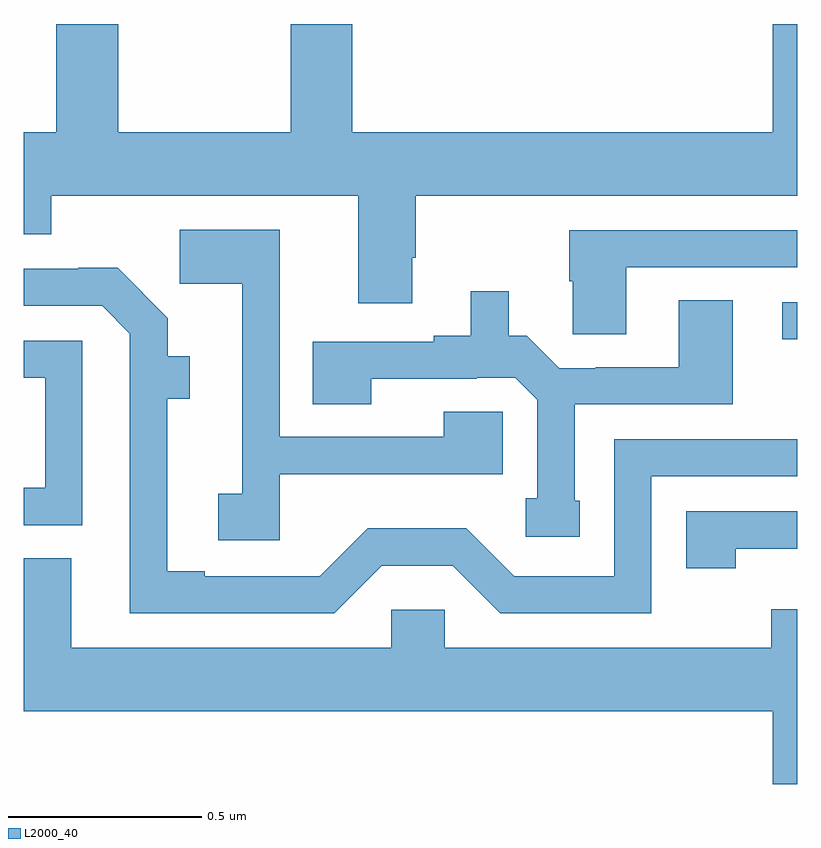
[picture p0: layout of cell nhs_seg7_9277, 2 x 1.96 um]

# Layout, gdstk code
import gdstk
lib = gdstk.Library(unit=1e-6, precision=1e-09)
def R(c, l, rs):  # rectangles x0, y0, x1, y1
    for r in rs: c.add(gdstk.rectangle(r[:2], r[2:], *l))
def P(c, l, *ps):  # polygons
    for p in ps: c.add(gdstk.Polygon(p, *l))
L2000_40 = (2000, 40)

nhs_seg7_9277 = lib.new_cell('nhs_seg7_9277')
R(nhs_seg7_9277, L2000_40, [(236.961,1060.185,237,1060.281)])
P(nhs_seg7_9277, L2000_40, [(236.005,1060.396),(236.013,1060.396),(236.013,1060.556),(237,1060.556),(237,1061),(236.936,1061),(236.936,1060.72),(235.85,1060.72),(235.85,1061),(235.69,1061),(235.69,1060.72),(235.245,1060.72),(235.245,1061),(235.085,1061),(235.085,1060.72),(235,1060.72),(235,1060.457),(235.071,1060.457),(235.071,1060.556),(235.865,1060.556),(235.865,1060.278),(236.005,1060.278)],
  [(235.662,1059.836),(236.129,1059.836),(236.129,1059.837),(236.239,1059.837),(236.239,1059.998),(236.086,1059.998),(236.086,1059.933),(235.662,1059.933),(235.662,1060.468),(235.404,1060.468),(235.404,1060.329),(235.565,1060.329),(235.565,1059.786),(235.503,1059.786),(235.503,1059.666),(235.662,1059.666)],
  [(236.557,1060.371),(237,1060.371),(237,1060.467),(236.41,1060.467),(236.41,1060.335),(236.419,1060.335),(236.419,1060.198),(236.557,1060.198)],
  [(235.926,1059.6),(236.109,1059.6),(236.232,1059.477),(236.622,1059.477),(236.622,1059.831),(237,1059.831),(237,1059.927),(236.526,1059.927),(236.526,1059.573),(236.268,1059.573),(236.144,1059.697),(235.89,1059.697),(235.766,1059.573),(235.468,1059.573),(235.468,1059.586),(235.372,1059.586),(235.372,1060.032),(235.429,1060.032),(235.429,1060.142),(235.373,1060.142),(235.373,1060.24),(235.243,1060.37),(235.142,1060.37),(235.142,1060.368),(235,1060.368),(235,1060.272),(235.203,1060.272),(235.275,1060.2),(235.275,1059.477),(235.803,1059.477)],
  [(236.437,1059.768),(236.424,1059.768),(236.424,1060.017),(236.833,1060.017),(236.833,1060.286),(236.693,1060.286),(236.693,1060.113),(236.479,1060.113),(236.479,1060.11),(236.385,1060.11),(236.301,1060.194),(236.254,1060.194),(236.254,1060.309),(236.156,1060.309),(236.156,1060.194),(236.06,1060.194),(236.06,1060.179),(235.747,1060.179),(235.747,1060.018),(235.899,1060.018),(235.899,1060.083),(236.171,1060.083),(236.171,1060.086),(236.271,1060.086),(236.328,1060.029),(236.328,1059.774),(236.298,1059.774),(236.298,1059.675),(236.437,1059.675)],
  [(235.152,1060.182),(235,1060.182),(235,1060.086),(235.056,1060.086),(235.056,1059.801),(235,1059.801),(235,1059.705),(235.152,1059.705)],
  [(236.84,1059.644),(237,1059.644),(237,1059.741),(236.712,1059.741),(236.712,1059.594),(236.84,1059.594)],
  [(237,1059.487),(236.932,1059.487),(236.932,1059.388),(236.088,1059.388),(236.088,1059.486),(235.95,1059.486),(235.95,1059.388),(235.123,1059.388),(235.123,1059.62),(235,1059.62),(235,1059.224),(236.936,1059.224),(236.936,1059.036),(237,1059.036)])

lib.write_gds('nhs_seg7_9277.gds')
